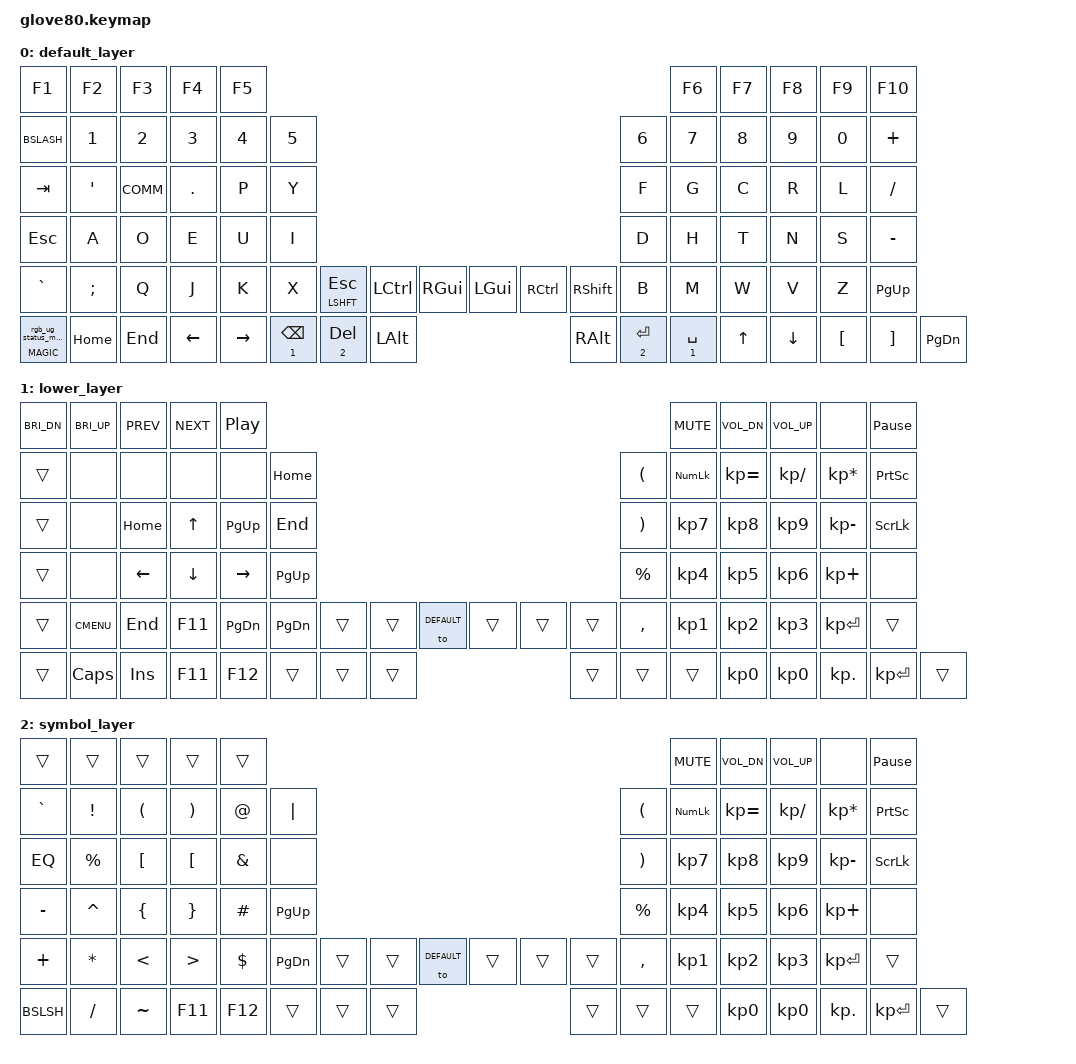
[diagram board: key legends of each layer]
/*
 * Copyright (c) 2020 The ZMK Contributors
 *
 * SPDX-License-Identifier: MIT
 */

#include <behaviors.dtsi>
#include <dt-bindings/zmk/keys.h>
#include <dt-bindings/zmk/bt.h>
#include <dt-bindings/zmk/ext_power.h>
#include <dt-bindings/zmk/outputs.h>
#include <dt-bindings/zmk/rgb.h>

#define HYPER LC(LS(LG(LALT)))

// layers
#define DEFAULT 0
#define LOWER 1
#define MAGIC 2
#define FACTORY_TEST 3

/ {
    behaviors {
        // For the "layer" key, it'd nice to be able to use it as either a shift or a toggle.
        // Configure it as a tap dance, so the first tap (or hold) is a &mo and the second tap is a &to
        layer_td: tap_dance_0 {
            compatible = "zmk,behavior-tap-dance";
            label = "LAYER_TAP_DANCE";
            #binding-cells = <0>;
            tapping-term-ms = <200>;
            bindings = <&mo LOWER>, <&to LOWER>;
        };

        magic: magic_hold_tap {
            compatible = "zmk,behavior-hold-tap";
            label = "MAGIC_HOLD_TAP";
            #binding-cells = <2>;
            flavor = "tap-preferred";
            tapping-term-ms = <200>;
            bindings = <&mo>, <&rgb_ug_status_macro>;
        };
    };

    macros {
        rgb_ug_status_macro: rgb_ug_status_macro_0 {
            label = "RGB_UG_STATUS";
            compatible = "zmk,behavior-macro";
            #binding-cells = <0>;
            bindings
                = <&rgb_ug RGB_STATUS>;
        };

        bt_0: bt_profile_macro_0 {
            label = "BT_0";
            compatible = "zmk,behavior-macro";
            #binding-cells = <0>;
            bindings
                = <&out OUT_BLE>,
                  <&bt BT_SEL 0>;
        };

        bt_1: bt_profile_macro_1 {
            label = "BT_1";
            compatible = "zmk,behavior-macro";
            #binding-cells = <0>;
            bindings
                = <&out OUT_BLE>,
                  <&bt BT_SEL 1>;
        };

        bt_2: bt_profile_macro_2 {
            label = "BT_2";
            compatible = "zmk,behavior-macro";
            #binding-cells = <0>;
            bindings
                = <&out OUT_BLE>,
                  <&bt BT_SEL 2>;
        };

        bt_3: bt_profile_macro_3 {
            label = "BT_3";
            compatible = "zmk,behavior-macro";
            #binding-cells = <0>;
            bindings
                = <&out OUT_BLE>,
                  <&bt BT_SEL 3>;
        };
    };

    keymap {
        compatible = "zmk,keymap";

        default_layer {
            // ---------------------------------------------------------------------------------------------------------------------------------
            // |  F1   |  F2 |  F3 |  F4  |  F5  |                                                               |  F6   |  F7   |  F8  |   F9  |  F10 |
            // |  =    |  1  |  2  |  3   |  4   |  5   |                                                 |  6   |   7   |   8   |  9   |   0   |   -  |
            // |  TAB  |  Q  |  W  |  E   |  R   |  T   |                                                 |  Y   |   U   |   I   |  O   |   P   |   \  |
            // |  ESC  |  A  |  S  |  D   |  F   |  G   |                                                 |  H   |   J   |   K   |  L   |   ;   |   '  |
            // |   `   |  Z  |  X  |  C   |  V   |  B   | LSHFT | LCTRL | LOWER | | LGUI  | RCTRL | RSHFT |  N   |   M   |   ,   |  .   |   /   | PGUP |
            // | MAGIC | HOME| END | LEFT | RIGHT|      | BSPC  | DEL   | LALT  | | RALT  | RET   | SPACE |      |  UP   | DOWN  |  [   |   ]   | PGDN |

            bindings = <
            &kp F1         &kp F2   &kp F3      &kp F4      &kp F5                                                                                         &kp F6  &kp F7      &kp F8      &kp F9      &kp F10
            &kp BSLASH     &kp N1   &kp N2      &kp N3      &kp N4      &kp N5                                                                     &kp N6  &kp N7  &kp N8      &kp N9      &kp N0      &kp PLUS
            &kp TAB        &kp SQT  &kp COMM    &kp DOT     &kp P       &kp Y                                                                      &kp F   &kp G   &kp C       &kp R       &kp L       &kp SLASH
            &kp ESC        &kp A    &kp O       &kp E       &kp U       &kp I                                                                      &kp D   &kp H   &kp T       &kp N       &kp S       &kp MINUS 
            &kp GRAVE      &kp SEMI &kp Q       &kp J       &kp K       &kp X   &lt LSHFT ESC   &kp LCTRL   &kp RGUI &kp LGUI  &kp RCTRL &kp RSHFT   &kp B   &kp M   &kp W       &kp V       &kp Z       &kp PG_UP
            &magic MAGIC 0 &kp HOME &kp END     &kp LEFT    &kp RIGHT           &mt 1 BSPC      &mt 2 DEL    &kp LALT   &kp RALT  &mt 2 RET   &mt 1 SPACE           &kp UP  &kp DOWN    &kp LBKT    &kp RBKT    &kp PG_DN
            >;
        };

        lower_layer {
            bindings = <
            &kp C_BRI_DN      &kp C_BRI_UP        &kp C_PREV      &kp C_NEXT      &kp C_PP                                                                                                           &kp C_MUTE   &kp C_VOL_DN &kp C_VOL_UP  &none           &kp PAUSE_BREAK
            &trans            &none               &none           &none           &none           &kp HOME                                                                              &kp LPAR     &kp KP_NUM   &kp KP_EQUAL &kp KP_DIVIDE &kp KP_MULTIPLY &kp PSCRN
            &trans            &none               &kp HOME        &kp UP          &kp PG_UP       &kp END                                                                               &kp RPAR     &kp KP_N7    &kp KP_N8    &kp KP_N9     &kp KP_MINUS    &kp SLCK
            &trans            &none               &kp LEFT        &kp DOWN        &kp RIGHT       &kp PG_UP                                                                             &kp PRCNT    &kp KP_N4    &kp KP_N5    &kp KP_N6     &kp KP_PLUS     &none
            &trans            &kp K_CMENU         &kp END         &kp F11         &kp PG_DN       &kp PG_DN       &trans      &trans      &to DEFAULT &trans      &trans      &trans    &kp COMMA    &kp KP_N1    &kp KP_N2    &kp KP_N3     &kp KP_ENTER    &trans
            &trans            &kp CAPS            &kp INS         &kp F11         &kp F12                         &trans      &trans      &trans      &trans      &trans      &trans                 &kp KP_N0    &kp KP_N0    &kp KP_DOT    &kp KP_ENTER    &trans
            >;
        }

        symbol_layer {
            bindings = <
            &trans            &trans              &trans          &trans          &trans                                                                                                             &kp C_MUTE   &kp C_VOL_DN &kp C_VOL_UP  &none           &kp PAUSE_BREAK
            &kp GRAVE         &kp EXCL            &kp LPAR        &kp RPAR        &kp AT          &kp PIPE                                                                             &kp LPAR     &kp KP_NUM   &kp KP_EQUAL &kp KP_DIVIDE &kp KP_MULTIPLY &kp PSCRN
            &kp EQ            &kp PRCNT           &kp LBKT        &kp LBKT        &kp AMPS        &none                                                                                &kp RPAR     &kp KP_N7    &kp KP_N8    &kp KP_N9     &kp KP_MINUS    &kp SLCK
            &kp MINUS         &kp CARET           &kp LBRC        &kp RBRC        &kp HASH        &kp PG_UP                                                                             &kp PRCNT    &kp KP_N4    &kp KP_N5    &kp KP_N6     &kp KP_PLUS     &none
            &kp PLUS          &kp STAR            &kp LT          &kp GT          &kp DOLLAR      &kp PG_DN       &trans      &trans      &to DEFAULT &trans      &trans      &trans    &kp COMMA    &kp KP_N1    &kp KP_N2    &kp KP_N3     &kp KP_ENTER    &trans
            &kp BSLSH         &kp SLASH           &kp TILDE       &kp F11         &kp F12                         &trans      &trans      &trans      &trans      &trans      &trans                 &kp KP_N0    &kp KP_N0    &kp KP_DOT    &kp KP_ENTER    &trans
            >;
        };

       };

        magic_layer {
            bindings = <
            &bt BT_CLR        &none               &none           &none           &none                                                                                                           &none      &none      &none      &none      &bt BT_CLR_ALL
            &none             &none               &none           &none           &none           &none                                                                                &none      &none      &none      &none      &none      &none
            &none             &rgb_ug RGB_SPI     &rgb_ug RGB_SAI &rgb_ug RGB_HUI &rgb_ug RGB_BRI &rgb_ug RGB_TOG                                                                      &none      &none      &none      &none      &none      &none
            &bootloader       &rgb_ug RGB_SPD     &rgb_ug RGB_SAD &rgb_ug RGB_HUD &rgb_ug RGB_BRD &rgb_ug RGB_EFF                                                                      &none      &none      &none      &none      &none      &bootloader
            &sys_reset        &none               &none           &none           &none           &none           &bt_2     &bt_3     &none            &none     &none     &none       &none      &none      &none      &none      &none      &sys_reset
            &none             &none               &none           &none           &none                           &bt_0     &bt_1     &out OUT_USB     &none     &none     &none                  &none      &none      &none      &none      &to FACTORY_TEST
            >;
        };

   };
};
